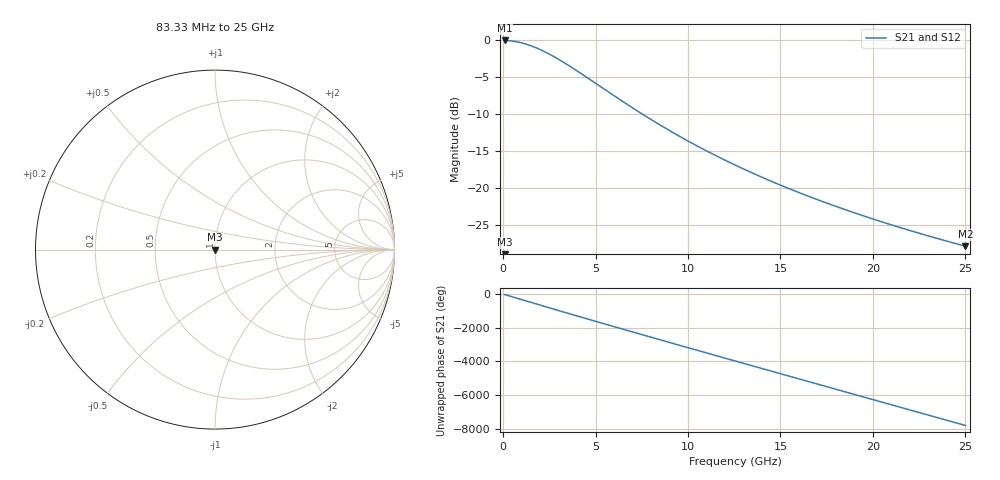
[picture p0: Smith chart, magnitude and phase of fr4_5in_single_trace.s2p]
! Synthetic 5 in FR4-like trace, S21 only (applied to both legs). Generated for DAW_LAB.
# GHz S RI R 50
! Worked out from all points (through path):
!   300 points, 83.33 MHz to 25 GHz, reference 50 ohm
!   highest |S21| = 0.00 dB at 83.33 MHz (marker M1); lowest = -27.9 dB at 25 GHz (marker M2)
!   lowest |S11| = - dB at 83.33 MHz (marker M3), VSWR 1.00, Z = 50 + j0 ohm
!   |S11| at or under -10 dB: start of sweep to end of sweep
!   |S22| runs from - to - dB; largest |S21 - S12| = 0
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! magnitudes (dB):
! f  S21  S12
! 83.33 MHz  0.0  0.0
! 500 MHz  -0.1  -0.1
! 916.7 MHz  -0.3  -0.3
! 1.333 GHz  -0.6  -0.6
! 1.833 GHz  -1.0  -1.0
! 2.333 GHz  -1.6  -1.6
! 2.917 GHz  -2.4  -2.4
! 3.5 GHz  -3.3  -3.3
! 4.25 GHz  -4.5  -4.5
! 6.75 GHz  -8.7  -8.7
! 8.417 GHz  -11.3  -11.3
! 9.417 GHz  -12.8  -12.8
! 10.5 GHz  -14.3  -14.3
! 11.5 GHz  -15.6  -15.6
! 12.58 GHz  -16.9  -16.9
! 13.58 GHz  -18.1  -18.1
! 14.58 GHz  -19.2  -19.2
! 16.75 GHz  -21.3  -21.3
! 18.75 GHz  -23.1  -23.1
! 20.92 GHz  -24.9  -24.9
! 22.92 GHz  -26.4  -26.4
! 25 GHz  -27.9  -27.9
